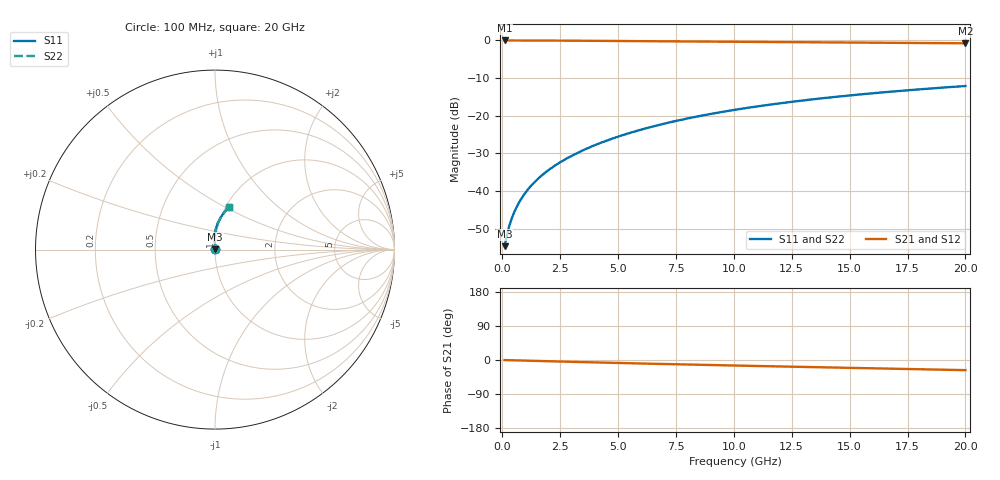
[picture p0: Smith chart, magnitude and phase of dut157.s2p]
! Touchstone file exported from HFSS 2024.1.0
!  File:  C:/UserFiles/LocalFiles/RDL_TSV_Batchsim/temp_RDL_bottom_157_1778697619.aedt
!  Generated:  02:42:59 AM May 14, 2026
!  Design:  RDL_bottom
!  Project:  temp_RDL_bottom_157_1778697619
!  Setup:  Setup1
!  Solution:  Sweep
! Variables:
!  dtsv = 10.80580581um
!  hbump = 3um
!  htsv = 50.84um
!  ldown = 374.99um
!  lrdl = 100um
!  p = 40
!  p1 = 53.86um
!  rhole = 1um
!  t = 450um
!  tdown = 3.71um
!  trdl = 3.915915916um
!  wdown = 28.32um
!  wrdl = 20um
# GHz S MA R 50.000000
! Terminal data exported
! Port[1] = RDL1_T1
! Port[2] = RDL1_T2
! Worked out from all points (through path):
!   200 points, 100 MHz to 20 GHz, reference 50 ohm
!   highest |S21| = -0.01 dB at 100 MHz (marker M1); lowest = -0.8 dB at 20 GHz (marker M2)
!   group delay of S21, straight-line fit = 3.65 ps
!   lowest |S11| = -54.7 dB at 100 MHz (marker M3), VSWR 1.00, Z = 50.2 + j0.107 ohm
!   |S11| at or under -10 dB: start of sweep to end of sweep
!   |S22| runs from -54.7 to -12.1 dB; largest |S21 - S12| = 3.5e-15
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0.1  0.001846 35.4  0.9985 -0.2  0.9985 -0.2  0.001846 35.4
! Gamma 0 0 0 0
! Port Impedance 50 0 50 0
0.2  0.002609 52.1  0.9984 -0.3  0.9984 -0.3  0.002609 52.1
0.3  0.003425 60.6  0.9982 -0.5  0.9982 -0.5  0.003425 60.6
0.4  0.004252 66.2  0.9981 -0.7  0.9981 -0.7  0.004252 66.2
0.5  0.005091 70.1  0.9979 -0.8  0.9979 -0.8  0.005091 70.1
0.6  0.005944 73.2  0.9978 -1.0  0.9978 -1.0  0.005944 73.2
0.8  0.007691 77.6  0.9976 -1.3  0.9976 -1.3  0.007691 77.6
1.1  0.01039 81.8  0.9971 -1.8  0.9971 -1.8  0.01039 81.8
1.3  0.01224 83.7  0.9967 -2.1  0.9967 -2.1  0.01224 83.7
1.6  0.01507 85.9  0.996 -2.6  0.996 -2.6  0.01507 85.9
2.1  0.01996 88.4  0.9947 -3.4  0.9947 -3.4  0.01996 88.4
2.7  0.02612 90.4  0.9927 -4.4  0.9927 -4.4  0.02612 90.4
3.5  0.03484 91.9  0.9895 -5.6  0.9895 -5.6  0.03484 91.9
4.2  0.04292 92.5  0.9864 -6.7  0.9864 -6.7  0.04292 92.5
5  0.05263 92.6  0.9826 -7.8  0.9826 -7.8  0.05262 92.6
5.9  0.06402 92.2  0.9782 -9.1  0.9782 -9.1  0.06402 92.2
6.8  0.0758 91.5  0.9738 -10.4  0.9738 -10.4  0.07579 91.5
8.4  0.09729 89.5  0.9661 -12.5  0.9661 -12.5  0.09728 89.5
10.1  0.1204 87.0  0.9582 -14.7  0.9582 -14.7  0.1204 87.0
13.4  0.1648 81.8  0.9438 -18.8  0.9438 -18.8  0.1648 81.8
16.7  0.2074 76.8  0.9297 -22.8  0.9297 -22.8  0.2074 76.8
20  0.2477 72.0  0.9156 -26.8  0.9156 -26.8  0.2477 72.0
